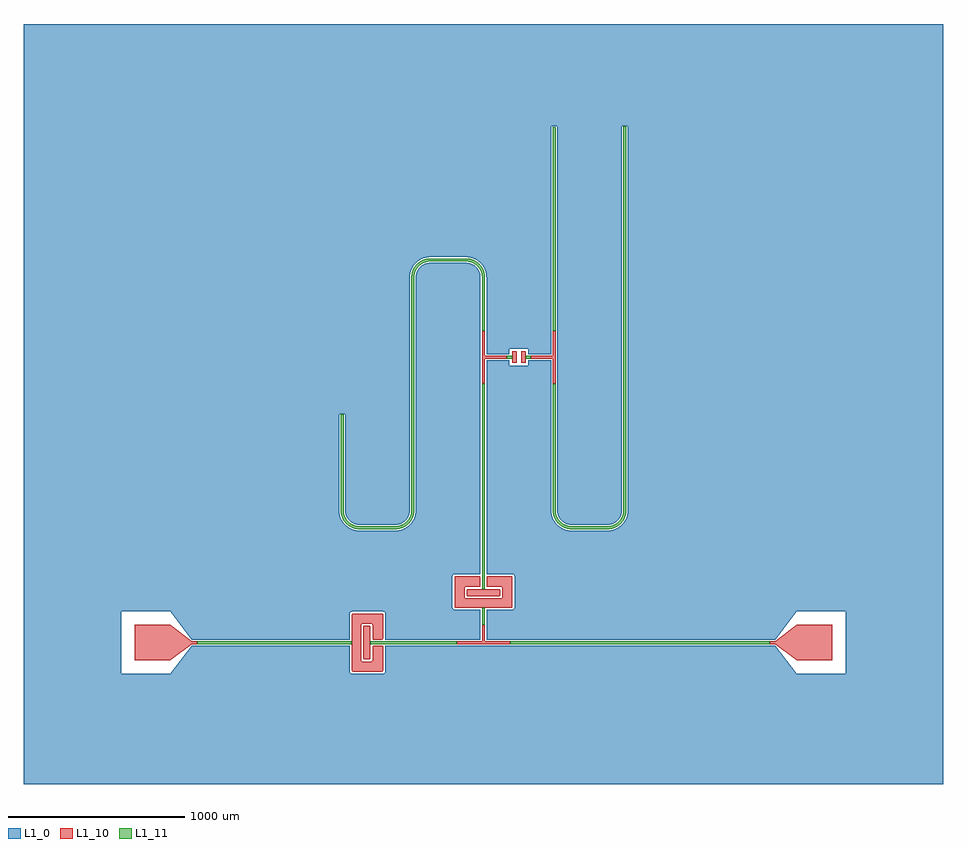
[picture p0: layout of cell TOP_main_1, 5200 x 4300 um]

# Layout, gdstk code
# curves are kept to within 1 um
import gdstk
lib = gdstk.Library(unit=1e-6, precision=1e-09)
def R(c, l, rs):  # rectangles x0, y0, x1, y1
    for r in rs: c.add(gdstk.rectangle(r[:2], r[2:], *l))
def P(c, l, *ps):  # polygons
    for p in ps: c.add(gdstk.Polygon(p, *l))
L1_0 = (1, 0)
L1_10 = (1, 10)
L1_11 = (1, 11)

ground_main_1 = lib.new_cell('ground_main_1')
R(ground_main_1, L1_0, [(-364.182,-800,4.357,-17), (4.357,-800,425.937,-17)])
P(ground_main_1, L1_0, [(-1772,176.5),(-1650,17),(-756.5,17),(-756.5,164),(-755.587,168.592),(-752.113,173.276),(-744.5,176),(-567.5,176),(-560.833,173.978),(-556.413,168.592),(-556.413,633),(-707.071,633.159),(-728.08,636.205),(-748.181,643.029),(-764.178,651.714),(-776.336,660.793),(-787.205,671.381),(-798.286,685.822),(-805.7,699.061),(-812.223,716.054),(-816.008,733.859),(-817,749),(-817,1290.921),(-783,1290.921),(-783,749),(-781.548,733.635),(-778.152,721.223),(-768.821,702.909),(-755.228,687.491),(-738.227,675.937),(-721.393,669.576),(-703.576,667.04),(-556.413,667),(-556.413,3500),(-2600,3500),(-2600,-800),(-556.413,-800),(-556.413,-168.592),(-560.833,-173.978),(-567.5,-176),(-744.5,-176),(-752.113,-173.276),(-755.587,-168.592),(-756.5,-164),(-756.5,-17),(-1650,-17),(-1772,-176.5),(-2048.5,-176.5),(-2048.5,176.5)],
  [(-496.424,667.04),(-481.112,668.975),(-466.434,673.744),(-452.909,681.179),(-441.017,691.017),(-431.179,702.909),(-423.744,716.434),(-418.975,731.112),(-417.04,746.424),(-416.96,2069.037),(-412.223,2098.946),(-401.459,2124),(-385.143,2145.849),(-364.182,2163.283),(-364.182,3500),(-556.413,3500),(-556.413,667)],
  [(-364.182,2118.269),(-372.857,2105.504),(-378.152,2093.777),(-381.548,2081.365),(-383,2066),(-383.358,739.899),(-388.677,713.154),(-400.094,688.39),(-416.976,666.976),(-438.39,650.094),(-460.278,639.654),(-483.859,633.992),(-556.413,633),(-555.5,17),(-364.182,17)],
  [(-364.182,-17),(-555.5,-17),(-555.5,-164),(-555.558,-165.176),(-555.731,-166.341),(-556.017,-167.483),(-556.413,-168.592),(-556.413,-800),(-364.182,-800)],
  [(4.357,3500),(-364.182,3500),(-364.182,2163.283),(-336.846,2176.323),(-307.071,2181.841),(-83.859,2181.008),(-57.429,2174.295),(-33.297,2161.599),(-12.795,2143.619),(4.357,2118.663)],
  [(-17,186),(-165.176,186.058),(-173.276,190.387),(-176,198),(-176,375),(-173.276,382.613),(-168.592,386.087),(-164,387),(-17,387),(-17,2066),(-18.01,2078.828),(-21.013,2091.339),(-25.937,2103.227),(-39.225,2122.133),(-48.742,2130.793),(-59.496,2137.857),(-81.112,2146.025),(-99,2148),(-313.828,2146.99),(-326.339,2143.987),(-340.504,2137.857),(-353.269,2129.182),(-364.182,2118.269),(-364.182,17),(-17,17)],
  [(425.937,3500),(4.357,3500),(4.357,2118.663),(13.795,2093.08),(16.96,2069.037),(17,1632),(146,1632),(146.01,1661.696),(148,1663.5),(252.581,1663.414),(254,1661.5),(254,1632),(383,1632),(383,2921),(417,2921),(417,749),(419.576,728.607),(425.937,711.773)],
  [(425.937,658.902),(408.851,675.999),(395.643,696.337),(386.953,718.977),(383.159,742.929),(383,1598),(254,1598),(253.99,1568.304),(252,1566.5),(147.419,1566.586),(146,1568.5),(146,1598),(17,1598),(17,387),(165.176,386.942),(173.276,382.613),(176,375),(175.087,193.408),(170.667,188.022),(164,186),(17,186),(17,17),(425.937,17)],
  [(2600,3500),(425.937,3500),(425.937,711.773),(431.179,702.909),(441.017,691.017),(455.062,679.765),(471.223,671.848),(488.723,667.647),(708.717,667.364),(721.393,669.576),(735.914,674.804),(747.091,681.179),(757.133,689.225),(765.793,698.742),(774.063,711.773),(778.987,723.661),(781.99,736.172),(783,749),(783,2922.564),(817,2922.564),(816.008,733.859),(812.223,716.054),(805.7,699.061),(796.599,683.297),(785.143,669.151),(771.616,656.971),(756.35,647.057),(739.722,639.654),(722.139,634.942),(701,633),(489.899,633.358),(471.92,636.205),(454.609,641.83),(438.39,650.094),(425.937,658.902),(425.937,17),(1650,17),(1772,176.5),(2048.5,176.5),(2048.5,-176.5),(1772,-176.5),(1650,-17),(425.937,-17),(425.937,-800),(2600,-800)])

top_main_1 = lib.new_cell('TOP_main_1')
P(top_main_1, L1_10, [(-1650,8),(-1772,100),(-1972,100),(-1972,-100),(-1772,-100),(-1650,-8),(-1620,-8),(-1620,8),(-1650,8)],
  [(1650,-8),(1772,-100),(1972,-100),(1972,100),(1772,100),(1650,8),(1620,8),(1620,-8),(1650,-8)],
  [(-672.5,-95),(-678.157,-92.657),(-680.5,-87),(-680.461,87.784),(-678.157,92.657),(-674.061,94.846),(-646.716,94.961),(-641.843,92.657),(-639.5,87),(-639.539,-87.784),(-641.843,-92.657),(-645.939,-94.846)],
  [(-575.402,-163.995),(-569.989,-161.789),(-567.505,-156.098),(-567.5,-25.098),(-570.279,-18.948),(-575.598,-17),(-619.598,-17.005),(-624.417,-18.699),(-627.471,-24.412),(-627.5,-99),(-628.848,-103.445),(-634.716,-106.961),(-684.5,-107),(-690.157,-104.657),(-692.461,-99.784),(-692.5,-17),(-744.5,-17),(-744.5,-155.902),(-741.721,-162.052),(-736.402,-164)],
  [(-692.5,99),(-690.157,104.657),(-685.284,106.961),(-635.5,107),(-631.055,105.652),(-627.539,99.784),(-627.5,25.098),(-626.035,20.398),(-620.088,17.029),(-575.598,17),(-571.56,18.046),(-568.747,20.724),(-567.5,25.098),(-567.5,155.902),(-570.279,162.052),(-575.598,164),(-738.251,163.799),(-742.801,160.917),(-744.495,156.098),(-744.5,-17),(-692.5,-17)],
  [(150,-8),(-150,-8),(-150,8),(-8,8),(-8,100),(8,100),(8,8),(150,8),(150,-8)],
  [(95,270),(92.657,264.343),(87,262),(-87.784,262.039),(-92.657,264.343),(-94.846,268.439),(-94.961,295.784),(-92.657,300.657),(-87,303),(87.784,302.961),(92.657,300.657),(94.846,296.561)],
  [(17,250),(-99,250),(-103.445,251.348),(-106.656,255.678),(-106.961,307.784),(-103.445,313.652),(-99,315),(-24.412,315.029),(-18.465,318.398),(-17.005,322.902),(-17.005,367.098),(-20.398,373.535),(-25.098,375),(-155.902,375),(-162.535,371.602),(-164,366.902),(-164,206.098),(-160.602,199.465),(-155.902,198),(17,198)],
  [(156.098,198.005),(161.511,200.211),(163.995,205.902),(164,366.902),(162.301,371.917),(155.902,375),(25.098,375),(20.083,373.301),(17,366.902),(17.005,322.902),(18.699,318.083),(24.412,315.029),(99,315),(103.445,313.652),(106.961,307.784),(107,258),(104.657,252.343),(99.784,250.039),(17,250),(17,198)],
  [(-8,1465),(-8,1765),(8,1765),(8,1623),(132,1623),(132,1607),(8,1607),(8,1465),(-8,1465)],
  [(268,1623),(392,1623),(392,1765),(408,1765),(408,1465),(392,1465),(392,1607),(268,1607),(268,1623)],
  [(164,1582.5),(162,1584.5),(162.086,1646.081),(163.804,1647.49),(185.581,1647.414),(187,1645.5),(186.914,1583.919),(185.196,1582.51)],
  [(215,1582.5),(213,1584.5),(213.086,1646.081),(214.804,1647.49),(236.581,1647.414),(238,1645.5),(237.914,1583.919),(236.196,1582.51)])
R(top_main_1, L1_11, [(-1620,-8,-792.5,8), (-792.5,-8,-744.499,8), (-639.501,-8,-527.5,8), (-527.5,-8,-150,8), (150,-8,1620,8), (-8,100,8,150), (-8,150,8,198.001), (-8,302.999,8,415), (-8,415,8,1465), (132,1607,152,1623), (152,1607,162.001,1623), (237.999,1607,248,1623), (248,1607,268,1623), (392,1765,408,2915)])
P(top_main_1, L1_11, [(-496.052,642.041),(-481.388,643.459),(-467.059,646.879),(-453.335,652.234),(-440.477,659.423),(-420.278,676.531),(-411.07,688.031),(-403.529,700.686),(-421.89,700.686),(-430.066,689.593),(-439.593,680.066),(-462.316,665.722),(-480.256,659.951),(-499,658),(-714.436,658.997),(-735.2,664.671),(-751.837,673.524),(-766.293,685.614),(-778.11,700.686),(-796.471,700.686),(-783.595,680.978),(-766.721,664.562),(-743.981,651.012),(-721.513,643.985),(-701,642)],
  [(-402.234,703.335),(-394.59,725.601),(-392,749),(-391.96,2068.697),(-388.032,2092.577),(-378.11,2114.314),(-396.471,2114.314),(-404.726,2092.267),(-407.959,2068.948),(-408,749),(-411.218,725.014),(-421.89,700.686),(-403.529,700.686)],
  [(8,2066),(4.726,2092.267),(-3.529,2114.314),(-21.89,2114.314),(-11.968,2092.577),(-8.04,2068.697),(-8,1765),(8,1765)],
  [(-779.355,702.724),(-788.782,725.014),(-791.96,746.303),(-792,1290.921),(-808,1290.921),(-807.838,743.106),(-803.963,719.885),(-796.471,700.686),(-778.11,700.686)],
  [(-4.896,2116.926),(-18.311,2136.272),(-35.631,2152.217),(-56.019,2163.988),(-78.487,2171.015),(-99,2173),(-301,2173),(-315.697,2171.986),(-330.115,2168.963),(-343.981,2163.988),(-357.033,2157.155),(-369.022,2148.595),(-379.722,2138.469),(-388.93,2126.969),(-396.471,2114.314),(-378.11,2114.314),(-369.934,2125.407),(-360.407,2134.934),(-337.684,2149.278),(-319.744,2155.049),(-301,2157),(-85.564,2156.003),(-64.8,2150.329),(-48.163,2141.476),(-33.707,2129.386),(-21.89,2114.314),(-3.529,2114.314)],
  [(703.948,642.041),(727.267,645.274),(749.314,653.529),(766.721,664.562),(783.595,680.978),(761.433,680.978),(747.276,670.645),(732.686,663.695),(717.097,659.435),(701,658),(490.92,658.359),(475.014,661.218),(462.316,665.722),(450.422,672.051),(438.567,680.978),(416.405,680.978),(430.978,666.405),(445.5,656.335),(464.257,647.798),(484.303,643.014)],
  [(785.438,683.279),(795.104,698.074),(802.202,714.257),(806.541,731.388),(808,749),(808,2922.564),(792,2922.564),(791.96,746.303),(789.454,727.625),(783.155,709.864),(773.332,693.781),(761.433,680.978),(783.595,680.978)],
  [(437.577,681.857),(426.668,693.781),(416.845,709.864),(410.546,727.625),(408.16,743.609),(408,1465),(392,1465),(392.162,743.106),(394.59,725.601),(398.793,711.482),(404.896,698.074),(412.783,685.631),(416.405,680.978)])
top_main_1.add(gdstk.Reference(ground_main_1, (0,0)))

lib.write_gds('TOP_main_1.gds')
